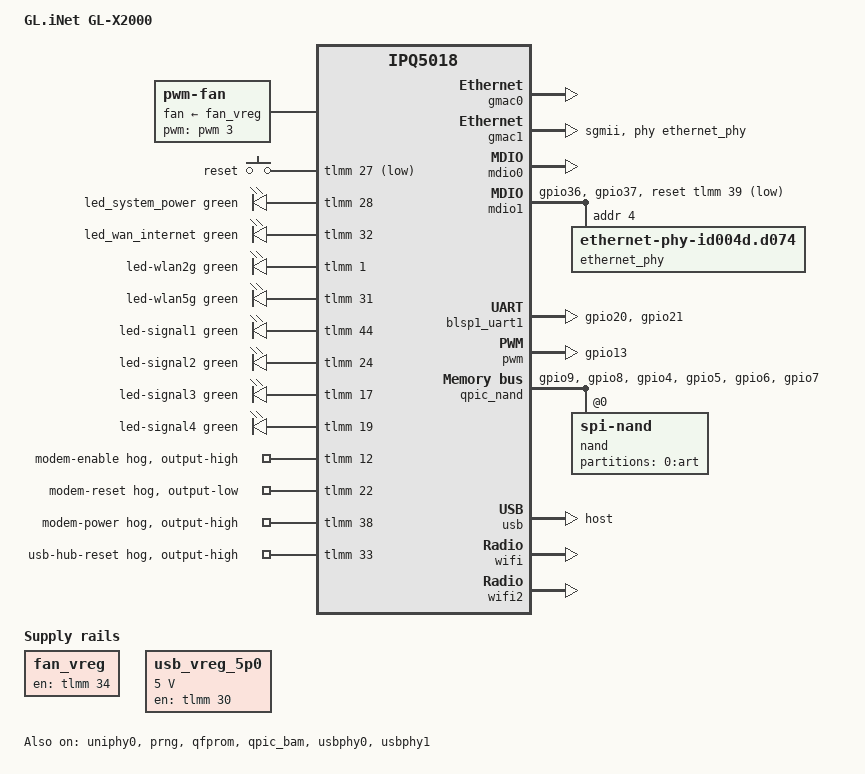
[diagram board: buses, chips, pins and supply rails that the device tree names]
// SPDX-License-Identifier: (GPL-2.0+ OR MIT)

/dts-v1/;

#include "ipq5018.dtsi"
#include "ipq5018-ess.dtsi"
#include "ipq5018-qcn6122.dtsi"

#include <dt-bindings/gpio/gpio.h>
#include <dt-bindings/input/input.h>
#include <dt-bindings/leds/common.h>

/ {
	model = "GL.iNet GL-X2000";
	compatible = "glinet,gl-x2000", "qcom,ipq5018";

	/*
	 * No ethernetN aliases: U-Boot would use them to overwrite the
	 * nvmem MAC addresses of both GMACs with invalid ones.
	 */
	aliases {
		label-mac-device = &gmac0;
		led-boot = &led_system_power;
		led-failsafe = &led_system_power;
		led-running = &led_system_power;
		led-upgrade = &led_system_power;
		serial0 = &blsp1_uart1;
	};

	chosen {
		bootargs-append = " root=/dev/ubiblock0_1 swiotlb=1 coherent_pool=2M";
		stdout-path = "serial0:115200n8";
	};

	fan: pwm-fan {
		compatible = "pwm-fan";
		pinctrl-0 = <&fan_pins>;
		pinctrl-names = "default";
		cooling-levels = <36 128 192 255>;
		#cooling-cells = <2>;
		fan-supply = <&fan_vreg>;
		pwms = <&pwm 3 40000 0>;
	};

	fan_vreg: regulator-fan {
		compatible = "regulator-fixed";
		regulator-name = "fan_power";
		gpio = <&tlmm 34 GPIO_ACTIVE_HIGH>;
		enable-active-high;
		regulator-boot-on;
	};

	keys {
		compatible = "gpio-keys";
		pinctrl-0 = <&button_pins>;
		pinctrl-names = "default";

		button-reset {
			label = "reset";
			gpios = <&tlmm 27 GPIO_ACTIVE_LOW>;
			linux,code = <KEY_RESTART>;
			debounce-interval = <60>;
		};
	};

	leds {
		compatible = "gpio-leds";
		pinctrl-0 = <&leds_pins>;
		pinctrl-names = "default";

		led_system_power: led-power {
			color = <LED_COLOR_ID_GREEN>;
			function = LED_FUNCTION_POWER;
			gpios = <&tlmm 28 GPIO_ACTIVE_HIGH>;
			default-state = "on";
		};

		led_wan_internet: led-wan {
			color = <LED_COLOR_ID_GREEN>;
			function = LED_FUNCTION_WAN;
			gpios = <&tlmm 32 GPIO_ACTIVE_HIGH>;
		};

		led-wlan2g {
			color = <LED_COLOR_ID_GREEN>;
			function = LED_FUNCTION_WLAN_2GHZ;
			gpios = <&tlmm 1 GPIO_ACTIVE_HIGH>;
		};

		led-wlan5g {
			color = <LED_COLOR_ID_GREEN>;
			function = LED_FUNCTION_WLAN_5GHZ;
			gpios = <&tlmm 31 GPIO_ACTIVE_HIGH>;
		};

		led-signal1 {
			color = <LED_COLOR_ID_GREEN>;
			function = LED_FUNCTION_INDICATOR;
			function-enumerator = <1>;
			gpios = <&tlmm 44 GPIO_ACTIVE_HIGH>;
		};

		led-signal2 {
			color = <LED_COLOR_ID_GREEN>;
			function = LED_FUNCTION_INDICATOR;
			function-enumerator = <2>;
			gpios = <&tlmm 24 GPIO_ACTIVE_HIGH>;
		};

		led-signal3 {
			color = <LED_COLOR_ID_GREEN>;
			function = LED_FUNCTION_INDICATOR;
			function-enumerator = <3>;
			gpios = <&tlmm 17 GPIO_ACTIVE_HIGH>;
		};

		led-signal4 {
			color = <LED_COLOR_ID_GREEN>;
			function = LED_FUNCTION_INDICATOR;
			function-enumerator = <4>;
			gpios = <&tlmm 19 GPIO_ACTIVE_HIGH>;
		};
	};

	reserved-memory {
		q6_region_qcn6122_2: q6-region-qcn6122-2@4e600000 {
			reg = <0x0 0x4e600000 0x0 0xd00000>;
			no-map;
		};

		m3_dump_qcn6122_2: m3-dump-qcn6122-2@4f300000 {
			reg = <0x0 0x4f300000 0x0 0x100000>;
			no-map;
		};
	};

	usb_vreg_5p0: regulator-usb-5p0 {
		compatible = "regulator-fixed";
		regulator-name = "usb_vbus";
		regulator-min-microvolt = <5000000>;
		regulator-max-microvolt = <5000000>;
		gpio = <&tlmm 30 GPIO_ACTIVE_HIGH>;
		enable-active-high;
	};
};

/*
 * =================================================================
 *     _______________________             ____________
 *    |        IPQ5018        |           |            |
 *    | +------+   +--------+ |           | +--------+ |
 *    | | MAC0 |---| GE Phy |-+--- MDI ---+ |  RJ45  | |  WAN
 *    | +------+   +--------+ |           | +--------+ |
 *    |                       |           |____________|
 *    |                       |            _______________________
 *    |                       |           |        AR8031         |
 *    | +------+   +--------+ |           | +--------+   +------+ |
 *    | | MAC1 |---| Uniphy |-+-- SGMII---+ |  Phy   |---| RJ45 | |  LAN
 *    | +------+   +--------+ |           | +--------+   +------+ |
 *    |_______________________|           |_______________________|
 *
 * =================================================================
 */

/* without a cooling-map the thermal core leaves the fan at full speed */
&{/thermal-zones/cpu-thermal/trips} {
	cpu_trip_active_low: active-low {
		temperature = <55000>;
		hysteresis = <5000>;
		type = "active";
	};

	cpu_trip_active_med: active-med {
		temperature = <75000>;
		hysteresis = <5000>;
		type = "active";
	};

	cpu_trip_active_high: active-high {
		temperature = <95000>;
		hysteresis = <5000>;
		type = "active";
	};
};

&{/thermal-zones/cpu-thermal/cooling-maps} {
	fan-active-low {
		trip = <&cpu_trip_active_low>;
		cooling-device = <&fan 1 1>;
	};

	fan-active-med {
		trip = <&cpu_trip_active_med>;
		cooling-device = <&fan 2 2>;
	};

	fan-active-high {
		trip = <&cpu_trip_active_high>;
		cooling-device = <&fan 3 3>;
	};
};

&uniphy0 {
	status = "okay";

	assigned-clocks = <&uniphy0 UNIPHY_CLK_REF>;
	assigned-clock-rates = <UNIPHY_REFCLK_25MHZ>;
};

// MAC0 ---MDI---> IPQ5018 GE PHY
&gmac0 {
	status = "okay";

	label = "wan";

	nvmem-cells = <&macaddr_gmac1 0>;
	nvmem-cell-names = "mac-address";
};

// MAC1 ---SGMII---> AR8031
&gmac1 {
	status = "okay";

	phy-handle = <&ethernet_phy>;
	phy-mode = "sgmii";

	label = "lan";

	nvmem-cells = <&macaddr_gmac1 1>;
	nvmem-cell-names = "mac-address";
};

&mdio0 {
	status = "okay";
};

&mdio1 {
	status = "okay";

	pinctrl-0 = <&mdio1_pins>;
	pinctrl-names = "default";
	reset-gpios = <&tlmm 39 GPIO_ACTIVE_LOW>;

	// Atheros AR8031
	ethernet_phy: ethernet-phy@4 {
		compatible = "ethernet-phy-id004d.d074";
		reg = <4>;
	};
};

&sleep_clk {
	clock-frequency = <32000>;
};

&xo_board_clk {
	clock-div = <4>;
	clock-mult = <1>;
};

&blsp1_uart1 {
	status = "okay";

	pinctrl-0 = <&serial_0_pins>;
	pinctrl-names = "default";
};

&prng {
	status = "okay";
};

&pwm {
	status = "okay";

	pinctrl-0 = <&pwm_pins>;
	pinctrl-names = "default";
};

&qfprom {
	status = "okay";
};

&qpic_bam {
	status = "okay";
};

&qpic_nand {
	pinctrl-0 = <&qpic_pins>;
	pinctrl-names = "default";
	status = "okay";

	nand@0 {
		compatible = "spi-nand";
		reg = <0>;
		nand-ecc-engine = <&qpic_nand>;
		nand-bus-width = <8>;

		partitions {
			compatible = "qcom,smem-part";

			partition-0-art {
				label = "0:art";
				read-only;

				nvmem-layout {
					compatible = "fixed-layout";
					#address-cells = <1>;
					#size-cells = <1>;

					macaddr_gmac1: macaddr@6 {
						compatible = "mac-base";
						#nvmem-cell-cells = <1>;
						reg = <0x6 0x6>;
					};
				};
			};
		};
	};
};

&tlmm {
	button_pins: button-state {
		pins = "gpio27";
		function = "gpio";
		drive-strength = <8>;
		bias-pull-up;
	};

	fan_pins: fan-state {
		speed-pins {
			pins = "gpio26";
			function = "gpio";
			drive-strength = <8>;
			bias-disable;
		};
	};

	leds_pins: leds-state {
		pins = "gpio1", "gpio17", "gpio19", "gpio24",
		       "gpio28", "gpio31", "gpio32", "gpio44";
		function = "gpio";
		drive-strength = <8>;
		bias-pull-down;
	};

	mdio1_pins: mdio-state {
		mdc-pins {
			pins = "gpio36";
			function = "mdc";
			drive-strength = <8>;
			bias-pull-up;
		};

		mdio-pins {
			pins = "gpio37";
			function = "mdio";
			drive-strength = <8>;
			bias-pull-up;
		};
	};

	pwm_pins: pwm-state {
		pins = "gpio13";
		function = "pwm3";
		drive-strength = <8>;
	};

	qpic_pins: qpic-state {
		clock-pins {
			pins = "gpio9";
			function = "qspi_clk";
			drive-strength = <8>;
			bias-disable;
		};

		cs-pins {
			pins = "gpio8";
			function = "qspi_cs";
			drive-strength = <8>;
			bias-disable;
		};

		data-pins {
			pins = "gpio4", "gpio5", "gpio6", "gpio7";
			function = "qspi_data";
			drive-strength = <8>;
			bias-disable;
		};
	};

	serial_0_pins: uart0-state {
		pins = "gpio20", "gpio21";
		function = "blsp0_uart0";
		drive-strength = <8>;
		bias-disable;
	};

	/*
	 * Modem and USB hub control lines. Nothing consumes these, so drive
	 * them as GPIO hogs. Levels match what the stock firmware leaves them
	 * at: enable/power asserted, reset released.
	 */
	modem-enable-hog {
		gpio-hog;
		gpios = <12 GPIO_ACTIVE_HIGH>;
		output-high;
		line-name = "modem-enable";
	};

	modem-reset-hog {
		gpio-hog;
		gpios = <22 GPIO_ACTIVE_HIGH>;
		output-low;
		line-name = "modem-reset";
	};

	modem-power-hog {
		gpio-hog;
		gpios = <38 GPIO_ACTIVE_HIGH>;
		output-high;
		line-name = "modem-power";
	};

	usb-hub-reset-hog {
		gpio-hog;
		gpios = <33 GPIO_ACTIVE_HIGH>;
		output-high;
		line-name = "usb-hub-reset";
	};
};

&usb {
	status = "okay";

	dr_mode = "host";
};

&usbphy0 {
	status = "okay";

	vdd-supply = <&usb_vreg_5p0>;
};

/* the Quectel EG120K-EA modem enumerates at SuperSpeed */
&usbphy1 {
	status = "okay";

	vdd-supply = <&usb_vreg_5p0>;
};

&wifi {
	status = "okay";

	qcom,rproc = <&q6v5_wcss>;
	qcom,ath11k-calibration-variant = "GL-iNet-GL-X2000";
	qcom,ath11k-fw-memory-mode = <1>;
};

/*
 * The QCN6122 is wired to the second instance: the stock device tree
 * enables wifi2@/userpd3 and leaves wifi1@/userpd2 disabled.
 */
&wifi2 {
	status = "okay";

	qcom,rproc = <&q6v5_wcss>;
	qcom,ath11k-calibration-variant = "GL-iNet-GL-X2000";
	qcom,ath11k-fw-memory-mode = <1>;

	memory-region = <&q6_region_qcn6122_2>, <&q6_region_ipq5018>, <&m3_dump_qcn6122_2>;
	memory-region-names = "q6-region", "m3-region", "m3-dump";
};
